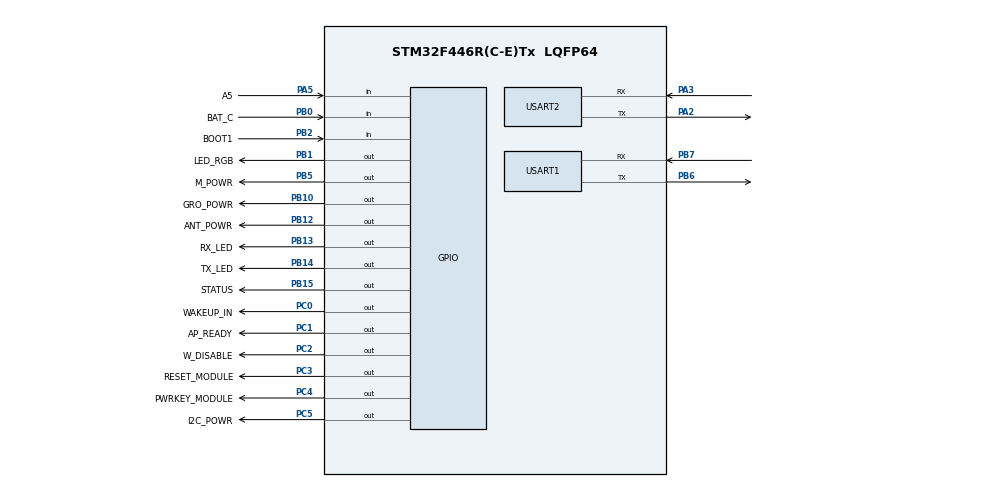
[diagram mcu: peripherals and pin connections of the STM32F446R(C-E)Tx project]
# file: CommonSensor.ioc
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Mcu.Family=STM32F4
Mcu.Name=STM32F446R(C-E)Tx
Mcu.Package=LQFP64
NVIC.PriorityGroup=NVIC_PRIORITYGROUP_4
NVIC.USART2_IRQn=true\:0\:0\:false\:false\:true\:true
PA13.Signal=SYS_JTMS-SWDIO
PA14.Signal=SYS_JTCK-SWCLK
PA2.Mode=Asynchronous
PA2.Signal=USART2_TX
PA3.Mode=Asynchronous
PA3.Signal=USART2_RX
PA5.GPIO_Label=A5
PA5.Signal=GPIO_Input
PB0.GPIO_Label=BAT_C
PB0.Signal=GPIO_Input
PB1.GPIO_Label=LED_RGB
PB1.GPIO_PuPd=GPIO_NOPULL
PB1.PinState=GPIO_PIN_RESET
PB1.Signal=GPIO_Output
PB10.GPIO_Label=GRO_POWR
PB10.Signal=GPIO_Output
PB12.GPIO_Label=ANT_POWR
PB12.Signal=GPIO_Output
PB13.GPIO_Label=RX_LED
PB13.Signal=GPIO_Output
PB14.GPIO_Label=TX_LED
PB14.Signal=GPIO_Output
PB15.GPIO_Label=STATUS
PB15.GPIO_PuPd=GPIO_PULLUP
PB15.PinState=GPIO_PIN_SET
PB15.Signal=GPIO_Output
PB2.GPIO_Label=BOOT1
PB2.Signal=GPIO_Input
PB5.GPIO_Label=M_POWR
PB5.GPIO_PuPd=GPIO_PULLUP
PB5.PinState=GPIO_PIN_SET
PB5.Signal=GPIO_Output
PB6.Mode=Asynchronous
PB6.Signal=USART1_TX
PB7.Mode=Asynchronous
PB7.Signal=USART1_RX
PB8.Signal=I2C1_SCL
PB9.Signal=I2C1_SDA
PC0.GPIO_Label=WAKEUP_IN
PC0.GPIO_PuPd=GPIO_PULLUP
PC0.PinState=GPIO_PIN_SET
PC0.Signal=GPIO_Output
PC1.GPIO_Label=AP_READY
PC1.GPIO_PuPd=GPIO_PULLUP
PC1.PinState=GPIO_PIN_SET
PC1.Signal=GPIO_Output
PC14-OSC32_IN.Signal=RCC_OSC32_IN
PC15-OSC32_OUT.Signal=RCC_OSC32_OUT
PC2.GPIO_Label=W_DISABLE
PC2.Signal=GPIO_Output
PC3.GPIO_Label=RESET_MODULE
PC3.GPIO_PuPd=GPIO_PULLUP
PC3.PinState=GPIO_PIN_SET
PC3.Signal=GPIO_Output
PC4.GPIO_Label=PWRKEY_MODULE
PC4.GPIO_ModeDefaultOutputPP=GPIO_MODE_OUTPUT_PP
PC4.GPIO_PuPd=GPIO_PULLUP
PC4.PinState=GPIO_PIN_SET
PC4.Signal=GPIO_Output
PC5.GPIO_Label=I2C_POWR
PC5.Signal=GPIO_Output
PH0-OSC_IN.Signal=RCC_OSC_IN
PH1-OSC_OUT.Signal=RCC_OSC_OUT
ProjectManager.HeapSize=0x200
ProjectManager.StackSize=0x400
ProjectManager.TargetToolchain=SW4STM32
RCC.CortexFreq_Value=16000000
RCC.USBFreq_Value=96000000
RCC.VCOOutputFreq_Value=192000000
USART1.VirtualMode=VM_ASYNC
USART2.VirtualMode=VM_ASYNC
board=CommonSensor

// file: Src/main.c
/**
  ******************************************************************************
  * @file           : main.c
  * @brief          : Main program body
  ******************************************************************************
  ** This notice applies to any and all portions of this file
  * that are not between comment pairs USER CODE BEGIN and
  * USER CODE END. Other portions of this file, whether
  * inserted by the user or by software development tools
  * are owned by their respective copyright owners.
  *
  * COPYRIGHT(c) 2018 STMicroelectronics
  *
  * Redistribution and use in source and binary forms, with or without modification,
  * are permitted provided that the following conditions are met:
  *   1. Redistributions of source code must retain the above copyright notice,
  *      this list of conditions and the following disclaimer.
  *   2. Redistributions in binary form must reproduce the above copyright notice,
  *      this list of conditions and the following disclaimer in the documentation
  *      and/or other materials provided with the distribution.
  *   3. Neither the name of STMicroelectronics nor the names of its contributors
  *      may be used to endorse or promote products derived from this software
  *      without specific prior written permission.
  *
  * THIS SOFTWARE IS PROVIDED BY THE COPYRIGHT HOLDERS AND CONTRIBUTORS "AS IS"
  * AND ANY EXPRESS OR IMPLIED WARRANTIES, INCLUDING, BUT NOT LIMITED TO, THE
  * IMPLIED WARRANTIES OF MERCHANTABILITY AND FITNESS FOR A PARTICULAR PURPOSE ARE
  * DISCLAIMED. IN NO EVENT SHALL THE COPYRIGHT HOLDER OR CONTRIBUTORS BE LIABLE
  * FOR ANY DIRECT, INDIRECT, INCIDENTAL, SPECIAL, EXEMPLARY, OR CONSEQUENTIAL
  * DAMAGES (INCLUDING, BUT NOT LIMITED TO, PROCUREMENT OF SUBSTITUTE GOODS OR
  * SERVICES; LOSS OF USE, DATA, OR PROFITS; OR BUSINESS INTERRUPTION) HOWEVER
  * CAUSED AND ON ANY THEORY OF LIABILITY, WHETHER IN CONTRACT, STRICT LIABILITY,
  * OR TORT (INCLUDING NEGLIGENCE OR OTHERWISE) ARISING IN ANY WAY OUT OF THE USE
  * OF THIS SOFTWARE, EVEN IF ADVISED OF THE POSSIBILITY OF SUCH DAMAGE.
  *
  ******************************************************************************
  */
#include "main.h"
#include "stm32f4xx_hal.h"

/* USER CODE BEGIN Includes */
#include "ATCommand.h"
/* USER CODE END Includes */

UART_HandleTypeDef huart1;
UART_HandleTypeDef huart2;

/* USER CODE BEGIN PV */
/* Private variables ---------------------------------------------------------*/

/* USER CODE END PV */

void SystemClock_Config(void);
static void MX_GPIO_Init(void);
static void MX_USART2_UART_Init(void);
static void MX_USART1_UART_Init(void);

/* USER CODE BEGIN PFP */
/* Private function prototypes -----------------------------------------------*/

/* USER CODE END PFP */

/* USER CODE BEGIN 0 */

uint32_t UserTxBufPtrIn = 0;
uint8_t UserTxBuffer[APP_RX_DATA_SIZE];

/* USER CODE END 0 */

int main(void)
{

  /* MCU Configuration----------------------------------------------------------*/

  /* Reset of all peripherals, Initializes the Flash interface and the Systick. */
  HAL_Init();

  /* Configure the system clock */
  SystemClock_Config();

  /* USER CODE BEGIN SysInit */
 // HAL_GPIO_WritePin(M_POWR_GPIO_Port, M_POWR_Pin, RESET);
  HAL_Delay(200);
  /* USER CODE END SysInit */

  /* Initialize all configured peripherals */
  MX_GPIO_Init();
  MX_USART2_UART_Init();
  MX_USART1_UART_Init();
  /* USER CODE BEGIN 2 */

  HAL_GPIO_WritePin(M_POWR_GPIO_Port, M_POWR_Pin, RESET);
  HAL_Delay(200);
  HAL_GPIO_WritePin(M_POWR_GPIO_Port, M_POWR_Pin, SET);
  HAL_Delay(6000);

  /* USER CODE END 2 */

  /* Infinite loop */

  /* USER CODE BEGIN 3 */
  int status;
  HAL_UART_Receive_IT(&huart2, (uint8_t *)(UserTxBuffer + UserTxBufPtrIn), 1);
  HAL_Delay(200);

  at_command(&huart2,  "AT+QGPSCFG=?\r\n");
  HAL_Delay(200);
  HAL_Delay(200);
  HAL_Delay(200);

  // ODP
  at_command(&huart2, "AT+QGPSCFG=\"autogps\"\r\n");
  HAL_Delay(200);
  HAL_Delay(200);
  HAL_Delay(200);

  // ODP
  at_command(&huart2, "AT+QGPSCFG=\"odpcontrol\"\r\n");
  HAL_Delay(200);
  HAL_Delay(200);
  HAL_Delay(200);

	// DPO
  at_command(&huart2, "AT+QGPSCFG=\"dpoenable\",1\r\n");
  HAL_Delay(200);
  HAL_Delay(200);
  HAL_Delay(200);

  // Enable NMEA format
  at_command(&huart2, "AT+QGPSCFG=\"nmeasrc\"\r\n");
  HAL_Delay(200);
  HAL_Delay(200);
  HAL_Delay(200);

  // GPS setting
  //AT+QGPS=<gnssmode>[,<fixmaxtime>[,<fixmaxdist>[,<fixcount>[,<fixrate>]]]]
  //at_command(&huart2, "AT+QGPS=1,100,1000,0,1\r\n");
  at_command(&huart2, "AT+QGPS=1\r\n");
  HAL_Delay(200);
  HAL_Delay(200);
  HAL_Delay(200);

  // Check
  at_command(&huart2, "AT+QGPS?\r\n");
  HAL_Delay(200);
  HAL_Delay(200);
  HAL_Delay(200);
  HAL_Delay(10000);

  // GET GPS
  at_command(&huart2, "AT+QGPSLOC=1\r\n");
  //at_command(&huart2, "AT+QGPSGNMEA=\"GGA\"\r\n");
  HAL_Delay(200);
  HAL_Delay(200);
  HAL_Delay(200);
  HAL_Delay(200);

    while(1) {
      // GET GPS
      /* at_command(&huart2, "AT+QGPSLOC=1\r\n"); */
      at_command(&huart2, "AT+QGPSGNMEA=\"GGA\"\r\n");
      HAL_Delay(200);
      HAL_Delay(10000);
      HAL_Delay(200);
      HAL_Delay(200);
      HAL_Delay(200);
      HAL_Delay(200);
      HAL_Delay(200);
      HAL_Delay(200);
      HAL_Delay(200);
      HAL_Delay(200);
    }

  /* USER CODE END 3 */

}

void SystemClock_Config(void)
{

  RCC_OscInitTypeDef RCC_OscInitStruct;
  RCC_ClkInitTypeDef RCC_ClkInitStruct;

    /**Configure the main internal regulator output voltage
    */
  __HAL_RCC_PWR_CLK_ENABLE();

  __HAL_PWR_VOLTAGESCALING_CONFIG(PWR_REGULATOR_VOLTAGE_SCALE3);

    /**Initializes the CPU, AHB and APB busses clocks
    */
  RCC_OscInitStruct.OscillatorType = RCC_OSCILLATORTYPE_HSI;
  RCC_OscInitStruct.HSIState = RCC_HSI_ON;
  RCC_OscInitStruct.HSICalibrationValue = 16;
  RCC_OscInitStruct.PLL.PLLState = RCC_PLL_NONE;
  if (HAL_RCC_OscConfig(&RCC_OscInitStruct) != HAL_OK)
  {
    _Error_Handler(__FILE__, __LINE__);
  }

    /**Initializes the CPU, AHB and APB busses clocks
    */
  RCC_ClkInitStruct.ClockType = RCC_CLOCKTYPE_HCLK|RCC_CLOCKTYPE_SYSCLK
                              |RCC_CLOCKTYPE_PCLK1|RCC_CLOCKTYPE_PCLK2;
  RCC_ClkInitStruct.SYSCLKSource = RCC_SYSCLKSOURCE_HSI;
  RCC_ClkInitStruct.AHBCLKDivider = RCC_SYSCLK_DIV1;
  RCC_ClkInitStruct.APB1CLKDivider = RCC_HCLK_DIV1;
  RCC_ClkInitStruct.APB2CLKDivider = RCC_HCLK_DIV1;

  if (HAL_RCC_ClockConfig(&RCC_ClkInitStruct, FLASH_LATENCY_0) != HAL_OK)
  {
    _Error_Handler(__FILE__, __LINE__);
  }

    /**Configure the Systick interrupt time
    */
  HAL_SYSTICK_Config(HAL_RCC_GetHCLKFreq()/1000);

    /**Configure the Systick
    */
  HAL_SYSTICK_CLKSourceConfig(SYSTICK_CLKSOURCE_HCLK);

  /* SysTick_IRQn interrupt configuration */
  HAL_NVIC_SetPriority(SysTick_IRQn, 0, 0);
}

/* USART1 init function */
static void MX_USART1_UART_Init(void)
{

  huart1.Instance = USART1;
  huart1.Init.BaudRate = 115200;
  huart1.Init.WordLength = UART_WORDLENGTH_8B;
  huart1.Init.StopBits = UART_STOPBITS_1;
  huart1.Init.Parity = UART_PARITY_NONE;
  huart1.Init.Mode = UART_MODE_TX_RX;
  huart1.Init.HwFlowCtl = UART_HWCONTROL_NONE;
  huart1.Init.OverSampling = UART_OVERSAMPLING_16;
  if (HAL_UART_Init(&huart1) != HAL_OK)
  {
    _Error_Handler(__FILE__, __LINE__);
  }

}

/* USART2 init function */
static void MX_USART2_UART_Init(void)
{

  huart2.Instance = USART2;
  huart2.Init.BaudRate = 115200;
  huart2.Init.WordLength = UART_WORDLENGTH_8B;
  huart2.Init.StopBits = UART_STOPBITS_1;
  huart2.Init.Parity = UART_PARITY_NONE;
  huart2.Init.Mode = UART_MODE_TX_RX;
  huart2.Init.HwFlowCtl = UART_HWCONTROL_NONE;
  huart2.Init.OverSampling = UART_OVERSAMPLING_16;
  if (HAL_UART_Init(&huart2) != HAL_OK)
  {
    _Error_Handler(__FILE__, __LINE__);
  }

}

/** Configure pins as
        * Analog
        * Input
        * Output
        * EVENT_OUT
        * EXTI
     PB8   ------> I2C1_SCL
     PB9   ------> I2C1_SDA
*/
static void MX_GPIO_Init(void)
{

  GPIO_InitTypeDef GPIO_InitStruct;

  /* GPIO Ports Clock Enable */
  __HAL_RCC_GPIOC_CLK_ENABLE();
  __HAL_RCC_GPIOH_CLK_ENABLE();
  __HAL_RCC_GPIOA_CLK_ENABLE();
  __HAL_RCC_GPIOB_CLK_ENABLE();

  /*Configure GPIO pin Output Level */
  HAL_GPIO_WritePin(GPIOC, WAKEUP_IN_Pin|AP_READY_Pin|RESET_MODULE_Pin|PWRKEY_MODULE_Pin, GPIO_PIN_SET);

  /*Configure GPIO pin Output Level */
  HAL_GPIO_WritePin(GPIOC, W_DISABLE_Pin|I2C_POWR_Pin, GPIO_PIN_RESET);

  /*Configure GPIO pin Output Level */
  HAL_GPIO_WritePin(GPIOB, LED_RGB_Pin|GRO_POWR_Pin|ANT_POWR_Pin|RX_LED_Pin
                          |TX_LED_Pin, GPIO_PIN_RESET);

  /*Configure GPIO pin Output Level */
  HAL_GPIO_WritePin(GPIOB, STATUS_Pin|M_POWR_Pin, GPIO_PIN_SET);

  /*Configure GPIO pins : WAKEUP_IN_Pin AP_READY_Pin RESET_MODULE_Pin PWRKEY_MODULE_Pin */
  GPIO_InitStruct.Pin = WAKEUP_IN_Pin|AP_READY_Pin|RESET_MODULE_Pin|PWRKEY_MODULE_Pin;
  GPIO_InitStruct.Mode = GPIO_MODE_OUTPUT_PP;
  GPIO_InitStruct.Pull = GPIO_PULLUP;
  GPIO_InitStruct.Speed = GPIO_SPEED_FREQ_LOW;
  HAL_GPIO_Init(GPIOC, &GPIO_InitStruct);

  /*Configure GPIO pins : W_DISABLE_Pin I2C_POWR_Pin */
  GPIO_InitStruct.Pin = W_DISABLE_Pin|I2C_POWR_Pin;
  GPIO_InitStruct.Mode = GPIO_MODE_OUTPUT_PP;
  GPIO_InitStruct.Pull = GPIO_NOPULL;
  GPIO_InitStruct.Speed = GPIO_SPEED_FREQ_LOW;
  HAL_GPIO_Init(GPIOC, &GPIO_InitStruct);

  /*Configure GPIO pin : A5_Pin */
  GPIO_InitStruct.Pin = A5_Pin;
  GPIO_InitStruct.Mode = GPIO_MODE_INPUT;
  GPIO_InitStruct.Pull = GPIO_NOPULL;
  HAL_GPIO_Init(A5_GPIO_Port, &GPIO_InitStruct);

  /*Configure GPIO pins : BAT_C_Pin BOOT1_Pin */
  GPIO_InitStruct.Pin = BAT_C_Pin|BOOT1_Pin;
  GPIO_InitStruct.Mode = GPIO_MODE_INPUT;
  GPIO_InitStruct.Pull = GPIO_NOPULL;
  HAL_GPIO_Init(GPIOB, &GPIO_InitStruct);

  /*Configure GPIO pins : LED_RGB_Pin GRO_POWR_Pin ANT_POWR_Pin RX_LED_Pin
                           TX_LED_Pin */
  GPIO_InitStruct.Pin = LED_RGB_Pin|GRO_POWR_Pin|ANT_POWR_Pin|RX_LED_Pin
                          |TX_LED_Pin;
  GPIO_InitStruct.Mode = GPIO_MODE_OUTPUT_PP;
  GPIO_InitStruct.Pull = GPIO_NOPULL;
  GPIO_InitStruct.Speed = GPIO_SPEED_FREQ_LOW;
  HAL_GPIO_Init(GPIOB, &GPIO_InitStruct);

  /*Configure GPIO pins : STATUS_Pin M_POWR_Pin */
  GPIO_InitStruct.Pin = STATUS_Pin|M_POWR_Pin;
  GPIO_InitStruct.Mode = GPIO_MODE_OUTPUT_PP;
  GPIO_InitStruct.Pull = GPIO_PULLUP;
  GPIO_InitStruct.Speed = GPIO_SPEED_FREQ_LOW;
  HAL_GPIO_Init(GPIOB, &GPIO_InitStruct);

  /*Configure GPIO pins : PB8 PB9 */
  GPIO_InitStruct.Pin = GPIO_PIN_8|GPIO_PIN_9;
  GPIO_InitStruct.Mode = GPIO_MODE_AF_OD;
  GPIO_InitStruct.Pull = GPIO_PULLUP;
  GPIO_InitStruct.Speed = GPIO_SPEED_FREQ_VERY_HIGH;
  GPIO_InitStruct.Alternate = GPIO_AF4_I2C1;
  HAL_GPIO_Init(GPIOB, &GPIO_InitStruct);

}

void _Error_Handler(char *file, int line)
{
  while(1)
  {
  }
}

/************************ (C) COPYRIGHT STMicroelectronics *****END OF FILE****/
